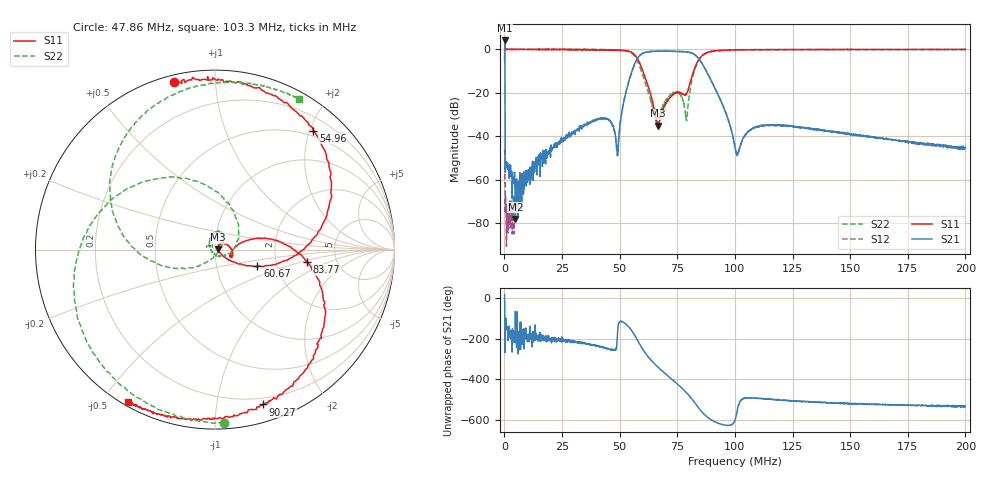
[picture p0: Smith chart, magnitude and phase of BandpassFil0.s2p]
! 19-Feb-26 1:06:25 PM
! E:\VNA_MEASUREMENTS\RECBLOCK\BANDPASSFIL0.S2P
! CHANNEL.1
! TR.MEASUREMENT
! CORRECTED.DATA
# GHZ S RI R 50.0
! FREQ.GHZ  S11RE  S11IM  S21RE  S21IM  S12RE  S12IM  S22RE  S22IM
!; PortSelection: Port_12
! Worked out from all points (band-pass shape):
!   2000 points, 50 kHz to 200 MHz, reference 50 ohm
!   highest |S21| = 4.07 dB at 50 kHz (marker M1); lowest = -78.1 dB at 4.751 MHz (marker M2)
!   |S21| within 3 dB of the highest: start of sweep to 134.3 kHz
!   lowest |S11| = -35.2 dB at 66.47 MHz (marker M3), VSWR 1.04, Z = 51.8 + j0.136 ohm
!   |S11| at or under -10 dB: 60.04 MHz to 82.09 MHz (22.05 MHz wide, 31 % of centre)
!   |S22| runs from -34.5 to 0.2 dB; largest |S21 - S12| = 1.6
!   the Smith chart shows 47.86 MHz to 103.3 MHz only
!   S11 on the Smith chart (normalised r, x): 47.86 MHz: 0.03, +0.79; 54.96 MHz: 0.40, +2.06; 60.67 MHz: 1.58, -0.31; 83.77 MHz: 3.02, -0.57; 90.27 MHz: 0.14, -1.35; 103.3 MHz: 0.02, -0.58
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5e-05  0.2844 0.4971  1.537 0.4412  0.00417 0.00257  1.023 -0.049
0.001350325  -0.9978 0.0269  -0.00208 -0.0013  4.91e-05 6.49e-05  0.9929 -0.0327
0.004751176  -1 0.0776  4.95e-05 -0.000114  -0.00031 2.3e-05  0.9925 -0.0747
0.0144536  -0.9557 0.2288  -0.0024 0.00148  -0.0024 0.000529  0.9714 -0.2309
0.03345835  -0.7764 0.6133  -0.0131 0.00982  -0.0124 0.0106  0.7765 -0.625
0.04376093  -0.4602 0.8364  -0.00997 0.0232  -0.0105 0.0233  0.3839 -0.9018
0.04786196  -0.2267 0.9359  -0.00388 0.0123  -0.00351 0.0117  0.0498 -0.9673
0.04926231  -0.0896 0.9483  -0.0038 -0.00239  -0.00408 -0.00262  -0.1083 -0.9513
0.05496373  0.5487 0.6635  -0.2531 -0.107  -0.2532 -0.1041  -0.784 -0.2412
0.05776443  0.5889 0.1148  -0.5383 0.3016  -0.5419 0.3012  -0.3563 0.388
0.06066516  0.2362 -0.0927  -0.0951 0.8351  -0.0861 0.8317  0.1283 0.1479
0.06646661  0.0173 0.00131  0.8404 0.3316  0.8403 0.3338  -0.0192 -0.00686
0.06676668  0.0171 0.00724  0.8563 0.2816  0.8587 0.2846  -0.021 -0.00222
0.07666916  0.0886 -0.0417  0.1587 -0.867  0.1605 -0.8742  0.0468 0.0738
0.07906976  0.0971 -0.00354  -0.2504 -0.8291  -0.2461 -0.833  0.0154 -0.0173
0.08377094  0.5124 -0.0693  -0.6508 -0.0861  -0.6486 -0.0914  -0.4887 0.0483
0.09027256  0.268 -0.8627  -0.0758 0.146  -0.077 0.1461  -0.2353 0.8614
0.100075  -0.3664 -0.8979  -0.00278 0.00443  -0.00263 0.00471  0.3681 0.883
0.1032758  -0.4821 -0.8492  -0.00637 -0.00568  -0.00588 -0.00542  0.4702 0.8377
0.1333833  -0.8808 -0.4535  -0.0127 -0.00748  -0.0127 -0.00726  0.8409 0.4931
0.1666917  -0.9702 -0.1964  -0.00811 -0.00228  -0.00833 -0.00207  0.9375 0.2935
0.2  -0.9966 -0.0371  -0.00551 -0.000615  -0.00514 -0.000798  0.9719 0.1641
